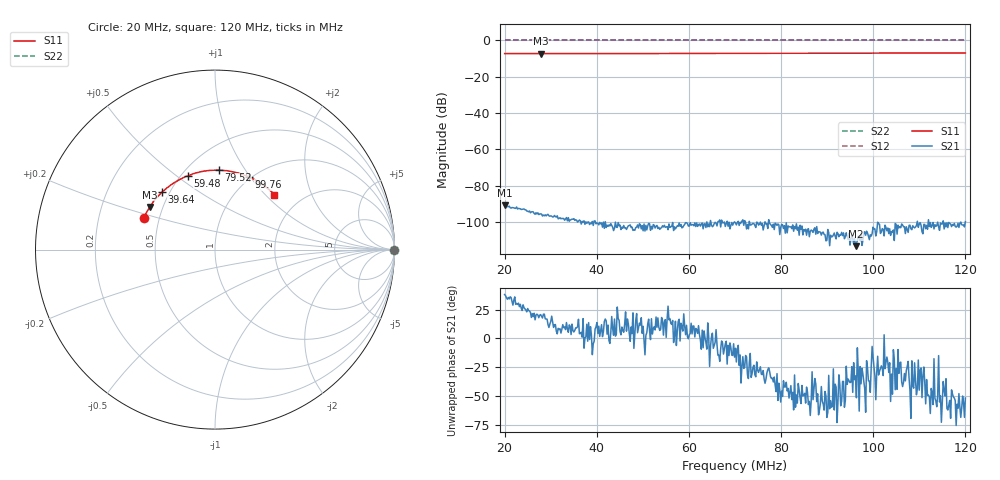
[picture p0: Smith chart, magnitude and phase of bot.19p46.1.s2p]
! Anritsu VNA Master:  Model: MS2036C/10/77
! SN:  1601066
! /bd0/18may08.cable.cal/bot.19p46.1.s2p
! Existing Calibration Information:
! TYPE:  Current Settings,  Active Cal Settings
! TIME:  05/08/2018 03:29:46 PM,  05/08/2018 03:25:16 PM
! INTERNAL TEMP:  52.8 C,  53.3 C
! # POINTS:  500,  500
! START FREQ:  20.000 MHz,  20.000 MHz
! STOP FREQ:  120.000 MHz,  120.000 MHz
! SOURCE POWER:  High,  High
! IFBW:  50 Hz,  50 Hz
! AVG FACTOR:  1 ,  1
! REF PLANE 1:  0 mm,  0 mm
! REF PLANE 2:  0 mm,  0 mm
! CAL TYPE:  Full S11,  Full S11
! CAL METHOD:  SOLT,  SOLT
! CAL LINE TYPE:  Coax,  Coax
! DUT PORT 1:  K-Conn(F),  K-Conn(F)
! DUT PORT 2:  K-Conn(F),  K-Conn(F)
! CAL STATUS:  OK: Accuracy High,  --
# GHZ S DB R 50.0
! FREQ.GHZ  S11DB  S11A  S21DB  S21A  S12DB  S12A  S22DB  S22A
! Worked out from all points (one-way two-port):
!   500 points, 20 MHz to 120 MHz, reference 50 ohm
!   highest |S21| = -90.82 dB at 20 MHz (marker M1); lowest = -113.3 dB at 96.15 MHz (marker M2)
!   lowest |S11| = -7.3 dB at 27.82 MHz (marker M3), VSWR 2.53, Z = 21.2 + j12.4 ohm
!   |S11| at or under -10 dB: nowhere
!   |S22| runs from 0.0 to 0.0 dB; largest |S21 - S12| = 1
!   S11 on the Smith chart (normalised r, x): 20 MHz: 0.41, +0.18; 39.64 MHz: 0.46, +0.36; 59.48 MHz: 0.54, +0.55; 79.52 MHz: 0.69, +0.77; 99.76 MHz: 0.98, +0.99; 120 MHz: 1.47, +1.13
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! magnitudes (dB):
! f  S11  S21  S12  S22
! 20 MHz  -7.2  -90.8  0.0  0.0
! 27.82 MHz  -7.3  -95.5  0.0  0.0
! 30.62 MHz  -7.2  -97.1  0.0  0.0
! 31.62 MHz  -7.2  -98.2  0.0  0.0
! 36.83 MHz  -7.2  -99.6  0.0  0.0
! 39.64 MHz  -7.2  -99.4  0.0  0.0
! 45.25 MHz  -7.2  -104.1  0.0  0.0
! 53.47 MHz  -7.2  -102.9  0.0  0.0
! 59.48 MHz  -7.2  -100.4  0.0  0.0
! 61.88 MHz  -7.2  -102.4  0.0  0.0
! 62.89 MHz  -7.1  -100.6  0.0  0.0
! 70.1 MHz  -7.1  -100.4  0.0  0.0
! 79.52 MHz  -7.1  -101.5  0.0  0.0
! 84.73 MHz  -7.0  -107.1  0.0  0.0
! 86.73 MHz  -7.0  -104.9  0.0  0.0
! 92.55 MHz  -7.0  -108.0  0.0  0.0
! 96.15 MHz  -7.0  -113.3  0.0  0.0
! 99.76 MHz  -7.0  -106.4  0.0  0.0
! 101.8 MHz  -7.0  -105.3  0.0  0.0
! 103.4 MHz  -7.0  -106.4  0.0  0.0
! 113.4 MHz  -6.9  -101.4  0.0  0.0
! 120 MHz  -6.9  -99.7  0.0  0.0
